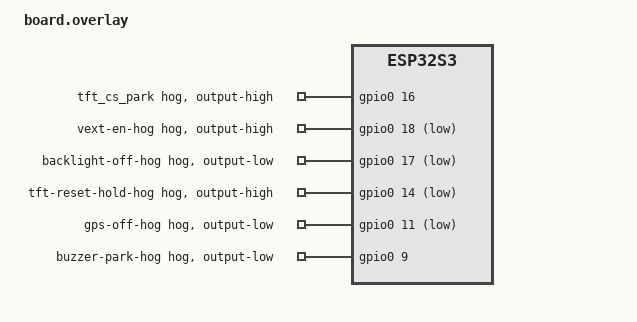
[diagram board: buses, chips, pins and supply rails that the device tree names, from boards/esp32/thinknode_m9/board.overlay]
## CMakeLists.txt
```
# SPDX-License-Identifier: MIT
# ZephCore LR1110 Firmware Updater — updates LR1110 radio firmware to 0x0402.
#
# Board-specific: only builds for boards with an LR1110 radio
# (t1000_e, thinknode_m9).
#
# Build:  west build -b t1000_e/nrf52840 zephcore/tools/lr1110_updater --pristine
#         west build -b thinknode_m9/esp32s3/procpu zephcore/tools/lr1110_updater --pristine
# Flash:  nRF52: drag-drop build/zephyr/zephyr.uf2 onto UF2 drive
#         (or: nrfjprog --program build/zephyr/zephyr.hex --sectorerase -r)
#         ESP32: west flash --esp-device COMX
#
# After the updater finishes, flash ZephCore main firmware.

cmake_minimum_required(VERSION 3.20.0)

# Reuse the main project's custom board definitions
list(APPEND BOARD_ROOT ${CMAKE_CURRENT_SOURCE_DIR}/../..)

# Extract base board name (strip qualifier like /nrf52840)
string(REPLACE "/" ";" BOARD_PARTS ${BOARD})
list(GET BOARD_PARTS 0 BOARD_BASE)

# Find board overlay — prefer updater-specific overlay, fall back to main board
file(GLOB_RECURSE UPD_OVERLAY_CANDIDATES
     "${CMAKE_CURRENT_SOURCE_DIR}/boards/*/${BOARD_BASE}/board.overlay"
     "${CMAKE_CURRENT_SOURCE_DIR}/boards/${BOARD_BASE}/board.overlay")
if(UPD_OVERLAY_CANDIDATES)
    list(GET UPD_OVERLAY_CANDIDATES 0 UPDATER_BOARD_OVERLAY)
else()
    # Fall back to main board overlay
    file(GLOB_RECURSE BOARD_OVERLAY_CANDIDATES
         "${CMAKE_CURRENT_SOURCE_DIR}/../../boards/*/${BOARD_BASE}/board.overlay")
    if(BOARD_OVERLAY_CANDIDATES)
        list(GET BOARD_OVERLAY_CANDIDATES 0 UPDATER_BOARD_OVERLAY)
    endif()
endif()
if(UPDATER_BOARD_OVERLAY)
    if(EXTRA_DTC_OVERLAY_FILE)
        set(EXTRA_DTC_OVERLAY_FILE "${EXTRA_DTC_OVERLAY_FILE};${UPDATER_BOARD_OVERLAY}" CACHE STRING "" FORCE)
    else()
        set(EXTRA_DTC_OVERLAY_FILE "${UPDATER_BOARD_OVERLAY}" CACHE STRING "" FORCE)
    endif()
endif()

# Find updater-specific board.conf
file(GLOB_RECURSE UPD_BOARD_CONF_CANDIDATES
     "${CMAKE_CURRENT_SOURCE_DIR}/boards/*/${BOARD_BASE}/board.conf"
     "${CMAKE_CURRENT_SOURCE_DIR}/boards/${BOARD_BASE}/board.conf")
if(UPD_BOARD_CONF_CANDIDATES)
    list(GET UPD_BOARD_CONF_CANDIDATES 0 UPD_BOARD_CONF)
    if(EXTRA_CONF_FILE)
        set(EXTRA_CONF_FILE "${EXTRA_CONF_FILE};${UPD_BOARD_CONF}" CACHE STRING "" FORCE)
    else()
        set(EXTRA_CONF_FILE "${UPD_BOARD_CONF}" CACHE STRING "" FORCE)
    endif()
endif()

# Optional: route SPI through DMA so a 262-byte WriteFlashEncrypted frame is
# ONE hardware transaction instead of five 64-byte ones. Diagnostic — see the
# header of the board's spi_dma.overlay.
#   west build ... zephcore/tools/lr1110_updater -- -DUPDATER_SPI_DMA=1
if(UPDATER_SPI_DMA)
    set(UPD_DMA_DIR "${CMAKE_CURRENT_SOURCE_DIR}/boards/esp32/${BOARD_BASE}")
    if(NOT EXISTS "${UPD_DMA_DIR}/spi_dma.overlay")
        message(FATAL_ERROR
            "UPDATER_SPI_DMA=1 requested but no spi_dma.overlay exists for "
            "board '${BOARD_BASE}'. This option is ESP32-only — the nRF52 "
            "SPIM driver has no 64-byte transaction limit to work around.")
    endif()
    set(EXTRA_DTC_OVERLAY_FILE
        "${EXTRA_DTC_OVERLAY_FILE};${UPD_DMA_DIR}/spi_dma.overlay"
        CACHE STRING "" FORCE)
    set(EXTRA_CONF_FILE
        "${EXTRA_CONF_FILE};${UPD_DMA_DIR}/spi_dma.conf"
        CACHE STRING "" FORCE)
    message(STATUS "LR1110 updater: SPI DMA ENABLED (single-transaction writes)")
endif()

message(STATUS "LR1110 updater board overlay: ${UPDATER_BOARD_OVERLAY}")
message(STATUS "LR1110 updater board conf: ${UPD_BOARD_CONF}")

find_package(Zephyr REQUIRED HINTS $ENV{ZEPHYR_BASE})
project(zephcore_lr1110_updater)

target_sources(app PRIVATE
    src/main.c
    src/lr11xx_hal_updater.c
    src/lr1110_bootloader.c
    src/lr1110_bl_updater.c
)

# Optional: flash transceiver 0x0401 instead of the default 0x0402.
#   west build ... zephcore/tools/lr1110_updater -- -DUPDATER_TARGET_FW=0x0401
if(DEFINED UPDATER_TARGET_FW)
    target_compile_definitions(app PRIVATE UPDATER_TARGET_FW=${UPDATER_TARGET_FW})
endif()

# Opt in to the ONE-WAY chip-bootloader update (0x6500 -> 0x1001). Off by
# default: chips that took it have since refused to boot any transceiver
# image. See the note in src/main.c.
if(DEFINED UPDATER_ALLOW_BOOTLOADER_UPDATE)
    target_compile_definitions(app PRIVATE
        UPDATER_ALLOW_BOOTLOADER_UPDATE=${UPDATER_ALLOW_BOOTLOADER_UPDATE})
endif()

# Idle gap after every flash page program, in ms. Diagnostic for a marginal
# supply — see the note in src/main.c.
#   west build ... -- -DUPDATER_CHUNK_DELAY_MS=10
if(DEFINED UPDATER_CHUNK_DELAY_MS)
    target_compile_definitions(app PRIVATE
        UPDATER_CHUNK_DELAY_MS=${UPDATER_CHUNK_DELAY_MS})
endif()

# Flash even with an SD card in the slot (shared SPI bus — see src/main.c).
#   west build ... -- -DUPDATER_IGNORE_SDCARD=1
if(DEFINED UPDATER_IGNORE_SDCARD)
    target_compile_definitions(app PRIVATE
        UPDATER_IGNORE_SDCARD=${UPDATER_IGNORE_SDCARD})
endif()

# Let a pasted log identify which build produced it.
if(UPDATER_SPI_DMA)
    target_compile_definitions(app PRIVATE UPDATER_SPI_DMA=1)
endif()

# Include paths for Semtech driver headers and firmware image
target_include_directories(app PRIVATE
    ${CMAKE_CURRENT_SOURCE_DIR}/src
    ${CMAKE_CURRENT_SOURCE_DIR}/lib
    ${ZEPHYR_LORA_BASICS_MODEM_MODULE_DIR}/lbm_lib/smtc_modem_core/radio_drivers/lr11xx_driver/src
)
```

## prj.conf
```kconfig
# ZephCore LR1110 Firmware Updater — minimal config
# Only needs SPI + GPIO to talk to the LR1110 radio.

# SPI for radio communication
CONFIG_SPI=y

# GPIO for reset, busy, NSS, LED
CONFIG_GPIO=y

# Use DTS code_partition for linker origin (required for bootloader boards)
CONFIG_USE_DT_CODE_PARTITION=y

# UF2 output
CONFIG_BUILD_OUTPUT_UF2=y

# USB CDC console
CONFIG_USB_DEVICE_STACK_NEXT=y
CONFIG_SERIAL=y
CONFIG_CONSOLE=y
CONFIG_UART_CONSOLE=y
CONFIG_UART_LINE_CTRL=y
CONFIG_CDC_ACM_SERIAL_INITIALIZE_AT_BOOT=y
CONFIG_CDC_ACM_SERIAL_ENABLE_AT_BOOT=y

# Minimal logging — console printk only
CONFIG_LOG=n
CONFIG_ASSERT=n

# Reboot API (reboot to UF2 DFU after update)
CONFIG_REBOOT=y

# Don't need any of these
CONFIG_GNSS=n
CONFIG_I2C=n
CONFIG_SENSOR=n
CONFIG_BT=n
CONFIG_FILE_SYSTEM=n
CONFIG_FLASH=n
```

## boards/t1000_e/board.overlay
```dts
/*
 * T1000-E LR1110 Updater overlay
 * SPDX-License-Identifier: MIT
 *
 * Minimal overlay — only SPI1 (LR1110 radio) and USB console.
 * Disables GPS UART, I2C sensors, and other peripherals not needed for update.
 */

/* Disable UART0 (GPS) — not needed, prevents driver init hang */
&uart0 {
	status = "disabled";
};

/* Disable I2C0 (sensors) — not needed */
&i2c0 {
	status = "disabled";
};

/* Route console to USB CDC ACM */
/ {
	chosen {
		zephyr,console = &cdc_acm_uart;
		zephyr,shell-uart = &cdc_acm_uart;
	};
};

&zephyr_udc0 {
	cdc_acm_uart: cdc_acm_uart {
		compatible = "zephyr,cdc-acm-uart";
	};
};
```

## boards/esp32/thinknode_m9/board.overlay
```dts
/*
 * ThinkNode M9 LR1110 Updater overlay
 * SPDX-License-Identifier: MIT
 *
 * Minimal overlay — the LR1110 lives in the base board DTS (SPI2).
 *
 * Console MUST ride uart0: the M9's USB-C data lines go through a
 * CH9102-class USB-UART bridge wired to UART0 (GPIO43/44), not to the S3's
 * native USB Serial/JTAG pads (verified on hardware — the base DTS's
 * usb_serial console produced no output after the ROM boot log, which
 * itself arrives via UART0). Same routing as the main firmware.
 *
 * Disables peripherals not needed for the update.
 */

#include "../../../../../boards/common/esp32s3_console_uart0.dtsi"

/*
 * Park the ST7789 chip-select (GPIO16) HIGH = deselected.
 *
 * SPI2 is shared by the LR1110, the TFT and the SD slot. This build has no
 * display driver, so nothing would ever configure the TFT's CS and the pin
 * would float across the whole firmware transfer — leaving the panel free
 * to select itself on noise and drive MISO against the radio. (The SD
 * slot's CS is parked by a hog in the base board DTS, which this overlay
 * does not replace.)
 */
&gpio0 {
	tft_cs_park {
		gpio-hog;
		gpios = <16 GPIO_ACTIVE_HIGH>;
		output-high;
	};
};

/* Disable UART1 (GPS) — not needed */
&uart1 {
	status = "disabled";
};

/* Disable I2C0 (RTC/sensors) — not needed */
&i2c0 {
	status = "disabled";
};

/* VDD_PERIPH rail — GPIO18 (VEXT_ENABLE, active-LOW) also feeds the LR1110
 * (V1.0 schematic; field-confirmed by fdlamotte). The main firmware enables
 * it via the tft_pwr_enable regulator in the APP overlay, which this updater
 * does not include — left undriven, the gate floats and the radio runs on
 * power back-fed through the SPI lines: enough to answer commands, browns
 * out at flash-program current (Stage A verify failure, 2026-07-19). Hog
 * the rail ON at GPIO driver init, before anything talks to the chip.
 *
 * The other hogs quiesce every gateable load that shares that rail — the
 * LR1110's flash-program current peaks ride the same supply, and the
 * updater build otherwise leaves these pins floating (pins/polarities from
 * the main app overlay). GPS RESET (GPIO5, active-HIGH) is deliberately
 * left alone: driving it into the disabled GPS would only leak through its
 * protection diode. */
&gpio0 {
	vext-en-hog {
		gpio-hog;
		gpios = <18 GPIO_ACTIVE_LOW>;
		output-high;	/* logical active = physical LOW = rail ON */
	};
	backlight-off-hog {
		gpio-hog;
		gpios = <17 GPIO_ACTIVE_LOW>;
		output-low;	/* physical HIGH = backlight OFF (floats ON otherwise) */
	};
	tft-reset-hold-hog {
		gpio-hog;
		gpios = <14 GPIO_ACTIVE_LOW>;
		output-high;	/* physical LOW = ST7789 held in reset, quiet + off the bus */
	};
	gps-off-hog {
		gpio-hog;
		gpios = <11 GPIO_ACTIVE_LOW>;
		output-low;	/* physical HIGH = GPS disabled (acquisition draws 25-40 mA) */
	};
	buzzer-park-hog {
		gpio-hog;
		gpios = <9 GPIO_ACTIVE_HIGH>;
		output-low;	/* physical LOW = low-side driver off, silent */
	};
};

/* Marginal SPI writes on some units (a single corrupted word of the 61320
 * fails the image signature). Flashing is not throughput-critical — the
 * chip-side flash programming dominates — so run the bus at 2 MHz instead
 * of the main firmware's 8 MHz. */
&lora {
	spi-max-frequency = <2000000>;
};
```

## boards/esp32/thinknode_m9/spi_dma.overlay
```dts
/*
 * ThinkNode M9 updater — route SPI2 through GDMA.
 * SPDX-License-Identifier: MIT
 *
 * Opt-in via -DUPDATER_SPI_DMA=1. Purpose is diagnostic, not performance.
 *
 * WriteFlashEncrypted is a 6-byte header + 256-byte payload = 262 bytes, and
 * it is the ONLY command this tool issues that exceeds 64 bytes. Without DMA,
 * spi_esp32_spim.c clamps every chunk to SOC_SPI_MAXIMUM_BUFFER_SIZE (64 on
 * the S3), so that one command is delivered as five hardware transactions
 * with the peripheral reconfigured between them — while every command known
 * to work on this board (GetVersion, GetStatus, EraseFlash, the EUI reads)
 * fits in a single transaction.
 *
 * The payload is encrypted, so the chip cannot validate content at write
 * time — only that 256 bytes arrived. If the split perturbed the bit stream,
 * writes would still report OK and the signed image would fail its integrity
 * check at boot, which is exactly the observed symptom.
 *
 * With DMA the cap becomes SPI_DMA_MAX_BUFFER_SIZE (4092), so the whole
 * 262-byte frame goes out as ONE transaction and that variable is removed.
 *
 * Caveat: upstream's own ESP32 board files leave SPI DMA commented as a TODO,
 * so this path is not well exercised in-tree. Treat a failure to build or run
 * as information about the driver, not about the radio.
 */

/* GDMA controller is disabled in esp32s3_common.dtsi — enable it. */
&dma {
	status = "okay";
};

&spi2 {
	dma-enabled;
	dma-host = <0>;			/* 0 -> SPI2 */
	dmas = <&dma 0>, <&dma 1>;	/* #dma-cells = <1>: the cell is the channel */
	dma-names = "tx", "rx";
};
```

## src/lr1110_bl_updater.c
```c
/*
 * SPDX-License-Identifier: MIT
 *
 * LR1110 bootloader-updater (loader) driver — see lr1110_bl_updater.h.
 * Command frames ported from Semtech SWTL001 bootloader_updater_driver
 * (Clear BSD, Semtech Corporation 2026).
 */

#include "lr1110_bl_updater.h"
#include "lr11xx_hal.h"

/*
 * Embed the loader image. Both Semtech firmware headers define the same
 * array name (lr11xx_firmware_image) AND the same include guard
 * (LR11XX_FW_H), so the loader header may only be included in THIS
 * translation unit (main.c holds the transceiver image), with the array
 * renamed to avoid the duplicate symbol.
 */
#define lr11xx_firmware_image lr11xx_firmware_loader_image
#include "lr1110_loader_6500.h"
#undef lr11xx_firmware_image

/* Loader ("bootloader updater firmware") command opcodes */
#define LR1110_BL_UPDATER_UPDATE_BOOTLOADER_OC 0x8100
#define LR1110_BL_UPDATER_VERIFY_BOOTLOADER_OC 0x8101
#define LR1110_BL_UPDATER_REBOOT_OC            0x8102

uint16_t lr1110_bl_loader_version(void)
{
	return LR11XX_FIRMWARE_VERSION; /* 0x6500 — from lr1110_loader_6500.h */
}

const uint32_t *lr1110_bl_loader_image(void)
{
	return lr11xx_firmware_loader_image;
}

uint32_t lr1110_bl_loader_image_size(void)
{
	return LR11XX_FIRMWARE_IMAGE_SIZE; /* 4884 words */
}

lr1110_status_t lr1110_bl_updater_update_bootloader(const void *context)
{
	const uint8_t cbuffer[2] = {
		(uint8_t)(LR1110_BL_UPDATER_UPDATE_BOOTLOADER_OC >> 8),
		(uint8_t)(LR1110_BL_UPDATER_UPDATE_BOOTLOADER_OC >> 0),
	};

	return (lr1110_status_t)lr11xx_hal_write(context, cbuffer, sizeof(cbuffer), 0, 0);
}

lr1110_status_t lr1110_bl_updater_verify_bootloader(const void *context,
	lr1110_bl_updater_report_t *report)
{
	const uint8_t cbuffer[2] = {
		(uint8_t)(LR1110_BL_UPDATER_VERIFY_BOOTLOADER_OC >> 8),
		(uint8_t)(LR1110_BL_UPDATER_VERIFY_BOOTLOADER_OC >> 0),
	};
	uint8_t rbuffer[4] = { 0 };

	const lr11xx_hal_status_t status =
		lr11xx_hal_read(context, cbuffer, sizeof(cbuffer), rbuffer, sizeof(rbuffer));

	if (status == LR11XX_HAL_STATUS_OK) {
		const uint8_t checks = rbuffer[0];

		report->signature_verified     = (checks & 0x01) != 0;
		report->version_verified       = (checks & 0x02) != 0;
		report->use_case_verified      = (checks & 0x04) != 0;
		report->version_major_verified = (checks & 0x08) != 0;
		report->version_minor_verified = (checks & 0x10) != 0;
		report->anti_rollback_verified = (checks & 0x20) != 0;
		report->use_case               = rbuffer[1];
		report->version_major          = rbuffer[2];
		report->version_minor          = rbuffer[3];
	}

	return (lr1110_status_t)status;
}

bool lr1110_bl_updater_report_ok(const lr1110_bl_updater_report_t *report)
{
	return report->signature_verified &&
	       report->version_verified &&
	       report->use_case_verified &&
	       report->version_major_verified &&
	       report->version_minor_verified &&
	       report->anti_rollback_verified;
}

lr1110_status_t lr1110_bl_updater_reboot(const void *context, bool stay_in_bootloader)
{
	const uint8_t cbuffer[3] = {
		(uint8_t)(LR1110_BL_UPDATER_REBOOT_OC >> 8),
		(uint8_t)(LR1110_BL_UPDATER_REBOOT_OC >> 0),
		stay_in_bootloader ? 0x03 : 0x00,
	};

	return (lr1110_status_t)lr11xx_hal_write(context, cbuffer, sizeof(cbuffer), 0, 0);
}
```

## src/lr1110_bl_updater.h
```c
/*
 * SPDX-License-Identifier: MIT
 *
 * Driver for the LR1110 "bootloader updater" (loader) firmware — the
 * commands below are understood by the lr1110_loader_6500 image while it
 * is RUNNING on the chip (i.e. after it has been flashed and rebooted
 * into). They are NOT bootloader-mode commands.
 *
 * Background (AN1200.57, Semtech SWTL001): transceiver firmware 0x0402
 * only boots on chip bootloader 0x1001. Chips with the legacy bootloader
 * 0x6500 must first flash + run this loader, tell it to rewrite the
 * bootloader (0x8100), verify (0x8101), then reboot (0x8102) — after
 * which the chip reports bootloader 0x1001 and accepts 0x0402.
 *
 * Command set ported from SWTL001 bootloader_updater_driver (Clear BSD,
 * Semtech Corporation 2026). GetVersion/GetStatus share the classic
 * bootloader wire format — reuse lr1110_bootloader_get_version/_get_status.
 */

#ifndef LR1110_BL_UPDATER_H
#define LR1110_BL_UPDATER_H

#ifdef __cplusplus
extern "C" {
#endif

#include <stdbool.h>
#include <stdint.h>
#include "lr1110_bootloader.h"

/* On-chip bootloader versions (LR1110) */
#define LR1110_BL_VERSION_LEGACY  0x6500  /* shipped since 2020; loader targets this */
#define LR1110_BL_VERSION_UPDATED 0x1001  /* after the loader ran; required by FW 0x0402 */

/* Result of the loader's VerifyBootloader (0x8101) command */
typedef struct {
	bool signature_verified;
	bool version_verified;
	bool use_case_verified;
	bool version_major_verified;
	bool version_minor_verified;
	bool anti_rollback_verified;
	uint8_t use_case;
	uint8_t version_major;
	uint8_t version_minor;
} lr1110_bl_updater_report_t;

/* Embedded lr1110_loader_6500 image (lib/lr1110_loader_6500.h) */
uint16_t        lr1110_bl_loader_version(void);     /* 0x6500 */
const uint32_t *lr1110_bl_loader_image(void);
uint32_t        lr1110_bl_loader_image_size(void);  /* in 32-bit words */

/* Ask the running loader to rewrite the chip bootloader (opcode 0x8100).
 * BUSY stays high for the duration of the rewrite — the HAL grants this
 * opcode the long timeout. */
lr1110_status_t lr1110_bl_updater_update_bootloader(const void *context);

/* Read the loader's verification report for the new bootloader (0x8101). */
lr1110_status_t lr1110_bl_updater_verify_bootloader(const void *context,
	lr1110_bl_updater_report_t *report);

/* All six verification checks passed? */
bool lr1110_bl_updater_report_ok(const lr1110_bl_updater_report_t *report);

/* Reboot out of the loader (opcode 0x8102, NOT the bootloader's 0x8005). */
lr1110_status_t lr1110_bl_updater_reboot(const void *context,
	bool stay_in_bootloader);

#ifdef __cplusplus
}
#endif

#endif /* LR1110_BL_UPDATER_H */
```

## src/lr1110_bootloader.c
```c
/*!
 * @file      lr1110_bootloader.c
 *
 * @brief     Bootloader driver implementation for LR1110
 *
 * The Clear BSD License
 * Copyright Semtech Corporation 2021. All rights reserved.
 *
 * Redistribution and use in source and binary forms, with or without
 * modification, are permitted (subject to the limitations in the disclaimer
 * below) provided that the following conditions are met:
 *     * Redistributions of source code must retain the above copyright
 *       notice, this list of conditions and the following disclaimer.
 *     * Redistributions in binary form must reproduce the above copyright
 *       notice, this list of conditions and the following disclaimer in the
 *       documentation and/or other materials provided with the distribution.
 *     * Neither the name of the Semtech corporation nor the
 *       names of its contributors may be used to endorse or promote products
 *       derived from this software without specific prior written permission.
 *
 * NO EXPRESS OR IMPLIED LICENSES TO ANY PARTY'S PATENT RIGHTS ARE GRANTED BY
 * THIS LICENSE. THIS SOFTWARE IS PROVIDED BY THE COPYRIGHT HOLDERS AND
 * CONTRIBUTORS "AS IS" AND ANY EXPRESS OR IMPLIED WARRANTIES, INCLUDING, BUT
 * NOT LIMITED TO, THE IMPLIED WARRANTIES OF MERCHANTABILITY AND FITNESS FOR A
 * PARTICULAR PURPOSE ARE DISCLAIMED. IN NO EVENT SHALL SEMTECH CORPORATION BE
 * LIABLE FOR ANY DIRECT, INDIRECT, INCIDENTAL, SPECIAL, EXEMPLARY, OR
 * CONSEQUENTIAL DAMAGES (INCLUDING, BUT NOT LIMITED TO, PROCUREMENT OF
 * SUBSTITUTE GOODS OR SERVICES; LOSS OF USE, DATA, OR PROFITS; OR BUSINESS
 * INTERRUPTION) HOWEVER CAUSED AND ON ANY THEORY OF LIABILITY, WHETHER IN
 * CONTRACT, STRICT LIABILITY, OR TORT (INCLUDING NEGLIGENCE OR OTHERWISE)
 * ARISING IN ANY WAY OUT OF THE USE OF THIS SOFTWARE, EVEN IF ADVISED OF THE
 * POSSIBILITY OF SUCH DAMAGE.
 */

/*
 * Source: https://github.com/Lora-net/lr1110_driver
 * Adapted for ZephCore updater tool — only include path changes.
 */

#include "lr1110_bootloader.h"
#include "lr11xx_hal.h"

/* ── Constants ─────────────────────────────────────────────── */

#define LR1110_FLASH_DATA_MAX_LENGTH_UINT32 (64)
#define LR1110_FLASH_DATA_MAX_LENGTH_UINT8  (LR1110_FLASH_DATA_MAX_LENGTH_UINT32 * 4)

#define LR1110_BL_CMD_NO_PARAM_LENGTH           (2)
#define LR1110_BL_GET_STATUS_CMD_LENGTH         (2 + 4)
#define LR1110_BL_VERSION_CMD_LENGTH            LR1110_BL_CMD_NO_PARAM_LENGTH
#define LR1110_BL_ERASE_FLASH_CMD_LENGTH        LR1110_BL_CMD_NO_PARAM_LENGTH
#define LR1110_BL_WRITE_FLASH_ENCRYPTED_CMD_LENGTH (LR1110_BL_CMD_NO_PARAM_LENGTH + 4)
#define LR1110_BL_REBOOT_CMD_LENGTH             (LR1110_BL_CMD_NO_PARAM_LENGTH + 1)
#define LR1110_BL_GET_HASH_CMD_LENGTH           LR1110_BL_CMD_NO_PARAM_LENGTH
#define LR1110_BL_SET_TCXO_MODE_CMD_LENGTH      (LR1110_BL_CMD_NO_PARAM_LENGTH + 4)
#define LR1110_BL_CALIBRATE_CMD_LENGTH          (LR1110_BL_CMD_NO_PARAM_LENGTH + 1)
#define LR1110_BL_GET_PIN_CMD_LENGTH            LR1110_BL_CMD_NO_PARAM_LENGTH
#define LR1110_BL_READ_CHIP_EUI_CMD_LENGTH      LR1110_BL_CMD_NO_PARAM_LENGTH
#define LR1110_BL_READ_JOIN_EUI_CMD_LENGTH      LR1110_BL_CMD_NO_PARAM_LENGTH

/* ── Opcodes ───────────────────────────────────────────────── */

enum {
	LR1110_BL_GET_STATUS_OC            = 0x0100,
	LR1110_BL_GET_VERSION_OC           = 0x0101,
	/* System commands the bootloader also answers (same space as
	 * GetStatus/GetVersion above) — used to bring up the TCXO before
	 * flashing on boards whose 32 MHz reference is powered from DIO3. */
	LR1110_BL_CALIBRATE_OC             = 0x010F,
	LR1110_BL_SET_TCXO_MODE_OC         = 0x0117,
	LR1110_BL_ERASE_FLASH_OC           = 0x8000,
	LR1110_BL_WRITE_FLASH_ENCRYPTED_OC = 0x8003,
	LR1110_BL_GET_HASH_OC              = 0x8004,
	LR1110_BL_REBOOT_OC                = 0x8005,
	LR1110_BL_GET_PIN_OC               = 0x800B,
	LR1110_BL_READ_CHIP_EUI_OC         = 0x800C,
	LR1110_BL_READ_JOIN_EUI_OC         = 0x800D,
};

/* ── Helper ────────────────────────────────────────────────── */

static uint8_t get_min_block_size(uint32_t operand)
{
	return (operand > LR1110_FLASH_DATA_MAX_LENGTH_UINT32)
		? LR1110_FLASH_DATA_MAX_LENGTH_UINT32
		: (uint8_t)operand;
}

/* ── Implementation ────────────────────────────────────────── */

lr1110_status_t lr1110_bootloader_get_status(const void *context,
	lr1110_bootloader_stat1_t *stat1,
	lr1110_bootloader_stat2_t *stat2,
	lr1110_bootloader_irq_mask_t *irq_status)
{
	uint8_t data[LR1110_BL_GET_STATUS_CMD_LENGTH];

	const lr1110_status_t status = (lr1110_status_t)
		lr11xx_hal_direct_read(context, data, LR1110_BL_GET_STATUS_CMD_LENGTH);

	if (status == LR1110_STATUS_OK) {
		stat1->is_interrupt_active = ((data[0] & 0x01) != 0);
		stat1->command_status = (lr1110_bootloader_command_status_t)(data[0] >> 1);

		stat2->is_running_from_flash = ((data[1] & 0x01) != 0);
		stat2->chip_mode = (lr1110_bootloader_chip_modes_t)((data[1] & 0x0F) >> 1);
		stat2->reset_status = (lr1110_bootloader_reset_status_t)((data[1] & 0xF0) >> 4);

		*irq_status = ((lr1110_bootloader_irq_mask_t)data[2] << 24) +
			      ((lr1110_bootloader_irq_mask_t)data[3] << 16) +
			      ((lr1110_bootloader_irq_mask_t)data[4] << 8) +
			      ((lr1110_bootloader_irq_mask_t)data[5] << 0);
	}

	return status;
}

lr1110_status_t lr1110_bootloader_get_version(const void *context,
	lr1110_bootloader_version_t *version)
{
	const uint8_t cbuffer[LR1110_BL_VERSION_CMD_LENGTH] = {
		(uint8_t)(LR1110_BL_GET_VERSION_OC >> 8),
		(uint8_t)(LR1110_BL_GET_VERSION_OC >> 0),
	};
	uint8_t rbuffer[LR1110_BL_VERSION_LENGTH] = { 0 };

	const lr1110_status_t status = (lr1110_status_t)
		lr11xx_hal_read(context, cbuffer, LR1110_BL_VERSION_CMD_LENGTH,
				rbuffer, LR1110_BL_VERSION_LENGTH);

	if (status == LR1110_STATUS_OK) {
		version->hw   = rbuffer[0];
		version->type = rbuffer[1];
		version->fw   = ((uint16_t)rbuffer[2] << 8) + (uint16_t)rbuffer[3];
	}

	return status;
}

lr1110_status_t lr1110_bootloader_erase_flash(const void *context)
{
	const uint8_t cbuffer[LR1110_BL_ERASE_FLASH_CMD_LENGTH] = {
		(uint8_t)(LR1110_BL_ERASE_FLASH_OC >> 8),
		(uint8_t)(LR1110_BL_ERASE_FLASH_OC >> 0),
	};

	return (lr1110_status_t)
		lr11xx_hal_write(context, cbuffer, LR1110_BL_ERASE_FLASH_CMD_LENGTH, 0, 0);
}

lr1110_status_t lr1110_bootloader_get_hash(const void *context,
	lr1110_bootloader_hash_t hash)
{
	const uint8_t cbuffer[LR1110_BL_GET_HASH_CMD_LENGTH] = {
		(uint8_t)(LR1110_BL_GET_HASH_OC >> 8),
		(uint8_t)(LR1110_BL_GET_HASH_OC >> 0),
	};

	return (lr1110_status_t)
		lr11xx_hal_read(context, cbuffer, LR1110_BL_GET_HASH_CMD_LENGTH,
				hash, LR1110_BL_HASH_LENGTH);
}

lr1110_status_t lr1110_bootloader_set_tcxo_mode(const void *context,
	uint8_t tune, uint32_t timeout)
{
	const uint8_t cbuffer[LR1110_BL_SET_TCXO_MODE_CMD_LENGTH] = {
		(uint8_t)(LR1110_BL_SET_TCXO_MODE_OC >> 8),
		(uint8_t)(LR1110_BL_SET_TCXO_MODE_OC >> 0),
		tune,
		(uint8_t)(timeout >> 16),
		(uint8_t)(timeout >> 8),
		(uint8_t)(timeout >> 0),
	};

	return (lr1110_status_t)
		lr11xx_hal_write(context, cbuffer, LR1110_BL_SET_TCXO_MODE_CMD_LENGTH, 0, 0);
}

lr1110_status_t lr1110_bootloader_calibrate(const void *context, uint8_t calib_param)
{
	const uint8_t cbuffer[LR1110_BL_CALIBRATE_CMD_LENGTH] = {
		(uint8_t)(LR1110_BL_CALIBRATE_OC >> 8),
		(uint8_t)(LR1110_BL_CALIBRATE_OC >> 0),
		calib_param,
	};

	return (lr1110_status_t)
		lr11xx_hal_write(context, cbuffer, LR1110_BL_CALIBRATE_CMD_LENGTH, 0, 0);
}

lr1110_status_t lr1110_bootloader_write_flash_encrypted(const void *context,
	uint32_t offset, const uint32_t *data, uint8_t length)
{
	const uint8_t cbuffer[LR1110_BL_WRITE_FLASH_ENCRYPTED_CMD_LENGTH] = {
		(uint8_t)(LR1110_BL_WRITE_FLASH_ENCRYPTED_OC >> 8),
		(uint8_t)(LR1110_BL_WRITE_FLASH_ENCRYPTED_OC >> 0),
		(uint8_t)(offset >> 24),
		(uint8_t)(offset >> 16),
		(uint8_t)(offset >> 8),
		(uint8_t)(offset >> 0),
	};

	/* Convert uint32_t words to big-endian byte array for SPI */
	uint8_t cdata[256] = { 0 };
	for (uint8_t i = 0; i < length; i++) {
		uint8_t *p = &cdata[i * sizeof(uint32_t)];
		p[0] = (uint8_t)(data[i] >> 24);
		p[1] = (uint8_t)(data[i] >> 16);
		p[2] = (uint8_t)(data[i] >> 8);
		p[3] = (uint8_t)(data[i] >> 0);
	}

	return (lr1110_status_t)
		lr11xx_hal_write(context, cbuffer, LR1110_BL_WRITE_FLASH_ENCRYPTED_CMD_LENGTH,
				 cdata, length * sizeof(uint32_t));
}

lr1110_status_t lr1110_bootloader_write_flash_encrypted_full(const void *context,
	uint32_t offset, const uint32_t *buffer, uint32_t length)
{
	uint32_t remaining = length;
	uint32_t local_offset = offset;
	uint32_t loop = 0;

	while (remaining != 0) {
		const lr1110_status_t status = lr1110_bootloader_write_flash_encrypted(
			context, local_offset,
			buffer + loop * LR1110_FLASH_DATA_MAX_LENGTH_UINT32,
			get_min_block_size(remaining));

		if (status != LR1110_STATUS_OK) {
			return status;
		}

		local_offset += LR1110_FLASH_DATA_MAX_LENGTH_UINT8;
		remaining = (remaining < LR1110_FLASH_DATA_MAX_LENGTH_UINT32)
			? 0
			: (remaining - LR1110_FLASH_DATA_MAX_LENGTH_UINT32);

		loop++;
	}

	return LR1110_STATUS_OK;
}

lr1110_status_t lr1110_bootloader_reboot(const void *context,
	bool stay_in_bootloader)
{
	const uint8_t cbuffer[LR1110_BL_REBOOT_CMD_LENGTH] = {
		(uint8_t)(LR1110_BL_REBOOT_OC >> 8),
		(uint8_t)(LR1110_BL_REBOOT_OC >> 0),
		stay_in_bootloader ? 0x03 : 0x00,
	};

	return (lr1110_status_t)
		lr11xx_hal_write(context, cbuffer, LR1110_BL_REBOOT_CMD_LENGTH, 0, 0);
}

lr1110_status_t lr1110_bootloader_read_pin(const void *context,
	lr1110_bootloader_pin_t pin)
{
	const uint8_t cbuffer[LR1110_BL_GET_PIN_CMD_LENGTH] = {
		(uint8_t)(LR1110_BL_GET_PIN_OC >> 8),
		(uint8_t)(LR1110_BL_GET_PIN_OC >> 0),
	};

	return (lr1110_status_t)
		lr11xx_hal_read(context, cbuffer, LR1110_BL_GET_PIN_CMD_LENGTH,
				pin, LR1110_BL_PIN_LENGTH);
}

lr1110_status_t lr1110_bootloader_read_chip_eui(const void *context,
	lr1110_bootloader_chip_eui_t chip_eui)
{
	const uint8_t cbuffer[LR1110_BL_READ_CHIP_EUI_CMD_LENGTH] = {
		(uint8_t)(LR1110_BL_READ_CHIP_EUI_OC >> 8),
		(uint8_t)(LR1110_BL_READ_CHIP_EUI_OC >> 0),
	};

	return (lr1110_status_t)
		lr11xx_hal_read(context, cbuffer, LR1110_BL_READ_CHIP_EUI_CMD_LENGTH,
				chip_eui, LR1110_BL_CHIP_EUI_LENGTH);
}

lr1110_status_t lr1110_bootloader_read_join_eui(const void *context,
	lr1110_bootloader_join_eui_t join_eui)
{
	const uint8_t cbuffer[LR1110_BL_READ_JOIN_EUI_CMD_LENGTH] = {
		(uint8_t)(LR1110_BL_READ_JOIN_EUI_OC >> 8),
		(uint8_t)(LR1110_BL_READ_JOIN_EUI_OC >> 0),
	};

	return (lr1110_status_t)
		lr11xx_hal_read(context, cbuffer, LR1110_BL_READ_JOIN_EUI_CMD_LENGTH,
				join_eui, LR1110_BL_JOIN_EUI_LENGTH);
}
```

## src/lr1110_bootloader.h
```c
/*!
 * @file      lr1110_bootloader.h
 *
 * @brief     Bootloader driver definition for LR1110
 *
 * The Clear BSD License
 * Copyright Semtech Corporation 2021. All rights reserved.
 *
 * Redistribution and use in source and binary forms, with or without
 * modification, are permitted (subject to the limitations in the disclaimer
 * below) provided that the following conditions are met:
 *     * Redistributions of source code must retain the above copyright
 *       notice, this list of conditions and the following disclaimer.
 *     * Redistributions in binary form must reproduce the above copyright
 *       notice, this list of conditions and the following disclaimer in the
 *       documentation and/or other materials provided with the distribution.
 *     * Neither the name of the Semtech corporation nor the
 *       names of its contributors may be used to endorse or promote products
 *       derived from this software without specific prior written permission.
 *
 * NO EXPRESS OR IMPLIED LICENSES TO ANY PARTY'S PATENT RIGHTS ARE GRANTED BY
 * THIS LICENSE. THIS SOFTWARE IS PROVIDED BY THE COPYRIGHT HOLDERS AND
 * CONTRIBUTORS "AS IS" AND ANY EXPRESS OR IMPLIED WARRANTIES, INCLUDING, BUT
 * NOT LIMITED TO, THE IMPLIED WARRANTIES OF MERCHANTABILITY AND FITNESS FOR A
 * PARTICULAR PURPOSE ARE DISCLAIMED. IN NO EVENT SHALL SEMTECH CORPORATION BE
 * LIABLE FOR ANY DIRECT, INDIRECT, INCIDENTAL, SPECIAL, EXEMPLARY, OR
 * CONSEQUENTIAL DAMAGES (INCLUDING, BUT NOT LIMITED TO, PROCUREMENT OF
 * SUBSTITUTE GOODS OR SERVICES; LOSS OF USE, DATA, OR PROFITS; OR BUSINESS
 * INTERRUPTION) HOWEVER CAUSED AND ON ANY THEORY OF LIABILITY, WHETHER IN
 * CONTRACT, STRICT LIABILITY, OR TORT (INCLUDING NEGLIGENCE OR OTHERWISE)
 * ARISING IN ANY WAY OUT OF THE USE OF THIS SOFTWARE, EVEN IF ADVISED OF THE
 * POSSIBILITY OF SUCH DAMAGE.
 */

#ifndef LR1110_BOOTLOADER_H
#define LR1110_BOOTLOADER_H

#ifdef __cplusplus
extern "C" {
#endif

#include <stdbool.h>
#include <stdint.h>
#include "lr11xx_types.h"

/* Compatibility aliases — the older lr1110_driver used lr1110_status_t,
 * the newer lr11xx_driver (SWDR001) uses lr11xx_status_t.
 * Both are the same enum: OK=0, ERROR=3. */
typedef lr11xx_status_t lr1110_status_t;
#define LR1110_STATUS_OK    LR11XX_STATUS_OK
#define LR1110_STATUS_ERROR LR11XX_STATUS_ERROR

/* ── Types ─────────────────────────────────────────────────── */

#define LR1110_BL_VERSION_LENGTH   4
#define LR1110_BL_HASH_LENGTH      16
#define LR1110_BL_PIN_LENGTH       4
#define LR1110_BL_CHIP_EUI_LENGTH  8
#define LR1110_BL_JOIN_EUI_LENGTH  8

typedef uint8_t lr1110_bootloader_hash_t[LR1110_BL_HASH_LENGTH];
typedef uint8_t lr1110_bootloader_pin_t[LR1110_BL_PIN_LENGTH];
typedef uint8_t lr1110_bootloader_chip_eui_t[LR1110_BL_CHIP_EUI_LENGTH];
typedef uint8_t lr1110_bootloader_join_eui_t[LR1110_BL_JOIN_EUI_LENGTH];

typedef uint32_t lr1110_bootloader_irq_mask_t;

typedef enum {
	LR1110_BOOTLOADER_CMD_STATUS_FAIL = 0x00,
	LR1110_BOOTLOADER_CMD_STATUS_PERR = 0x01,
	LR1110_BOOTLOADER_CMD_STATUS_OK   = 0x02,
	LR1110_BOOTLOADER_CMD_STATUS_DATA = 0x03,
} lr1110_bootloader_command_status_t;

typedef enum {
	LR1110_BOOTLOADER_CHIP_MODE_SLEEP     = 0x00,
	LR1110_BOOTLOADER_CHIP_MODE_STBY_RC   = 0x01,
	LR1110_BOOTLOADER_CHIP_MODE_STBY_XOSC = 0x02,
	LR1110_BOOTLOADER_CHIP_MODE_FS        = 0x03,
	LR1110_BOOTLOADER_CHIP_MODE_RX        = 0x04,
	LR1110_BOOTLOADER_CHIP_MODE_TX        = 0x05,
	LR1110_BOOTLOADER_CHIP_MODE_LOC       = 0x06,
} lr1110_bootloader_chip_modes_t;

typedef enum {
	LR1110_BOOTLOADER_RESET_STATUS_CLEARED      = 0x00,
	LR1110_BOOTLOADER_RESET_STATUS_ANALOG       = 0x01,
	LR1110_BOOTLOADER_RESET_STATUS_EXTERNAL     = 0x02,
	LR1110_BOOTLOADER_RESET_STATUS_SYSTEM       = 0x03,
	LR1110_BOOTLOADER_RESET_STATUS_WATCHDOG     = 0x04,
	LR1110_BOOTLOADER_RESET_STATUS_IOCD_RESTART = 0x05,
	LR1110_BOOTLOADER_RESET_STATUS_RTC_RESTART  = 0x06,
} lr1110_bootloader_reset_status_t;

typedef struct {
	lr1110_bootloader_command_status_t command_status;
	bool                               is_interrupt_active;
} lr1110_bootloader_stat1_t;

typedef struct {
	lr1110_bootloader_reset_status_t reset_status;
	lr1110_bootloader_chip_modes_t   chip_mode;
	bool                             is_running_from_flash;
} lr1110_bootloader_stat2_t;

typedef struct {
	uint8_t  hw;
	uint8_t  type;
	uint16_t fw;
} lr1110_bootloader_version_t;

/* ── Functions ─────────────────────────────────────────────── */

lr1110_status_t lr1110_bootloader_get_status(const void *context,
	lr1110_bootloader_stat1_t *stat1,
	lr1110_bootloader_stat2_t *stat2,
	lr1110_bootloader_irq_mask_t *irq_status);

lr1110_status_t lr1110_bootloader_get_version(const void *context,
	lr1110_bootloader_version_t *version);

lr1110_status_t lr1110_bootloader_erase_flash(const void *context);

/* 16-byte digest of the image currently in flash (opcode 0x8004). Lets the
 * host confirm what actually landed, rather than trusting fire-and-forget
 * WriteFlashEncrypted calls that never read back. */
lr1110_status_t lr1110_bootloader_get_hash(const void *context,
	lr1110_bootloader_hash_t hash);

/* TCXO supply voltage codes for lr1110_bootloader_set_tcxo_mode() */
#define LR1110_TCXO_CTRL_1_6V 0x00
#define LR1110_TCXO_CTRL_1_7V 0x01
#define LR1110_TCXO_CTRL_1_8V 0x02
#define LR1110_TCXO_CTRL_2_2V 0x03
#define LR1110_TCXO_CTRL_2_4V 0x04
#define LR1110_TCXO_CTRL_2_7V 0x05
#define LR1110_TCXO_CTRL_3_0V 0x06
#define LR1110_TCXO_CTRL_3_3V 0x07

/* Calibrate all blocks (LF_RC|HF_RC|PLL|ADC|IMG|PLL_TX) */
#define LR1110_CALIB_ALL 0x3F

/* Power the TCXO from DIO3 and use it as the XOSC source. `timeout` is in
 * 32.768 kHz RTC ticks (1 tick = 30.52 us). Must be followed by a
 * calibration — changing the clock source invalidates the previous one. */
lr1110_status_t lr1110_bootloader_set_tcxo_mode(const void *context,
	uint8_t tune, uint32_t timeout);

lr1110_status_t lr1110_bootloader_calibrate(const void *context, uint8_t calib_param);

lr1110_status_t lr1110_bootloader_write_flash_encrypted(const void *context,
	uint32_t offset, const uint32_t *data, uint8_t length);

lr1110_status_t lr1110_bootloader_write_flash_encrypted_full(const void *context,
	uint32_t offset, const uint32_t *buffer, uint32_t length);

lr1110_status_t lr1110_bootloader_reboot(const void *context,
	bool stay_in_bootloader);

lr1110_status_t lr1110_bootloader_read_pin(const void *context,
	lr1110_bootloader_pin_t pin);

lr1110_status_t lr1110_bootloader_read_chip_eui(const void *context,
	lr1110_bootloader_chip_eui_t chip_eui);

lr1110_status_t lr1110_bootloader_read_join_eui(const void *context,
	lr1110_bootloader_join_eui_t join_eui);

#ifdef __cplusplus
}
#endif

#endif /* LR1110_BOOTLOADER_H */
```

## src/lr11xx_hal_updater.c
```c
/*
 * SPDX-License-Identifier: MIT
 * Minimal LR11xx HAL for firmware updater.
 *
 * Implements the Semtech lr11xx_hal_* interface used by lr1110_bootloader.c.
 * Stripped down: no DIO1 interrupt, no work queue, no sleep tracking.
 * Just SPI + GPIO for bootloader commands.
 */

#include "lr11xx_hal_updater.h"
#include "lr11xx_hal.h"

#include <string.h>

#include <zephyr/logging/log.h>
LOG_MODULE_REGISTER(lr1110_hal, LOG_LEVEL_INF);

/* ── Hardware from devicetree ──────────────────────────────── */

#define LR1110_NODE DT_NODELABEL(lora)

#if !DT_NODE_EXISTS(LR1110_NODE)
#error "No 'lora' node found in devicetree — is this an LR1110 board?"
#endif

/* SPI bus device */
static const struct device *spi_dev = DEVICE_DT_GET(DT_BUS(LR1110_NODE));

/* Flashing SPI clock cap. In bootloader mode the chip runs on its RC
 * oscillator with less timing margin, and one corrupted byte fails the whole
 * signed image with every write reporting OK. */
#define UPDATER_SPI_MAX_HZ 2000000

/* SPI config — manual CS (we toggle NSS via GPIO) */
static struct spi_config spi_cfg = {
	.frequency = MIN(DT_PROP(LR1110_NODE, spi_max_frequency), UPDATER_SPI_MAX_HZ),
	.operation = SPI_WORD_SET(8) | SPI_TRANSFER_MSB,
};

/* TCXO configuration from devicetree (0 mV = crystal board, no TCXO) */
uint16_t lr1110_updater_tcxo_voltage_mv(void)
{
	return DT_PROP_OR(LR1110_NODE, tcxo_voltage_mv, 0);
}

uint32_t lr1110_updater_tcxo_startup_delay_ms(void)
{
	return DT_PROP_OR(LR1110_NODE, tcxo_startup_delay_ms, 5);
}

/* GPIO pins */
static const struct gpio_dt_spec pin_nss   = GPIO_DT_SPEC_GET(DT_BUS(LR1110_NODE), cs_gpios);
static const struct gpio_dt_spec pin_reset = GPIO_DT_SPEC_GET(LR1110_NODE, reset_gpios);
static const struct gpio_dt_spec pin_busy  = GPIO_DT_SPEC_GET(LR1110_NODE, busy_gpios);

/* BUSY timeout — 3 seconds (flash erase can take ~2.5s) */
#define BUSY_TIMEOUT_MS 3000

/* Extended BUSY timeout for flash erase (0x8000) and for the loader's
 * bootloader rewrite (0x8100) — both keep BUSY high for seconds. */
#define LONG_BUSY_TIMEOUT_MS 10000

/* How long to watch for BUSY to RISE after a command before assuming the
 * chip finished it too quickly to observe. See wait_command_complete(). */
#define BUSY_RISE_TIMEOUT_MS 2

/* Largest command+payload frame we ever put on the wire. */
#define LR11XX_HAL_MAX_FRAME 272

/* ── Context (opaque pointer for Semtech driver) ──────────── */

/* The Semtech driver passes 'context' to every HAL function.
 * We use a dummy static — all state is in file-scope globals. */
static int dummy_context;

void *lr1110_updater_get_context(void)
{
	return &dummy_context;
}

/* ── BUSY wait ────────────────────────────────────────────── */

static int wait_on_busy(uint32_t timeout_ms)
{
	int64_t start = k_uptime_get();

	while (gpio_pin_get_dt(&pin_busy)) {
		if ((k_uptime_get() - start) > timeout_ms) {
			printk("ERROR: BUSY timeout after %u ms\n", timeout_ms);
			return -ETIMEDOUT;
		}
		k_busy_wait(100); /* 100us */
	}
	return 0;
}

/*
 * Wait for a command the chip has just been given to complete: first watch
 * for BUSY rising (bounded: a fast command may never show busy), then wait
 * for it to fall. Polling for low alone can read the stale pre-command level.
 */
/* ── Per-command instrumentation ───────────────────────────
 *
 * Captured for the most recent command so the caller can trace every chunk:
 * how long the chip took to ASSERT busy (rise latency) and how long it then
 * held it (the real flash-program time). A chunk that never asserts busy at
 * all is the signature of the race this HAL exists to avoid — worth seeing
 * per chunk rather than inferring from a summary. */
static uint32_t last_busy_rise_us;
static uint32_t last_busy_hold_us;
static bool     last_busy_seen;
static int      last_spi_ret;

uint32_t lr1110_updater_last_busy_rise_us(void) { return last_busy_rise_us; }
uint32_t lr1110_updater_last_busy_hold_us(void) { return last_busy_hold_us; }
bool     lr1110_updater_last_busy_seen(void)    { return last_busy_seen; }
int      lr1110_updater_last_spi_ret(void)      { return last_spi_ret; }

static int wait_command_complete(uint32_t timeout_ms)
{
	const uint32_t cyc_entry = k_cycle_get_32();
	int64_t start = k_uptime_get();

	last_busy_seen    = false;
	last_busy_rise_us = 0;
	last_busy_hold_us = 0;

	while (!gpio_pin_get_dt(&pin_busy)) {
		if ((k_uptime_get() - start) > BUSY_RISE_TIMEOUT_MS) {
			break; /* never went busy — nothing to wait for */
		}
		k_busy_wait(1);
	}

	if (gpio_pin_get_dt(&pin_busy)) {
		last_busy_seen = true;
		last_busy_rise_us =
			k_cyc_to_us_floor32(k_cycle_get_32() - cyc_entry);
	}

	const uint32_t cyc_high = k_cycle_get_32();
	int ret = wait_on_busy(timeout_ms);
	last_busy_hold_us = k_cyc_to_us_floor32(k_cycle_get_32() - cyc_high);

	return ret;
}

/* ── Public init/reset ────────────────────────────────────── */

int lr1110_updater_hal_init(void)
{
	int ret;

	if (!device_is_ready(spi_dev)) {
		printk("ERROR: SPI device not ready\n");
		return -ENODEV;
	}

	/* NSS — output, inactive (HIGH = deselected) */
	ret = gpio_pin_configure_dt(&pin_nss, GPIO_OUTPUT_INACTIVE);
	if (ret < 0) {
		printk("ERROR: NSS config failed: %d\n", ret);
		return ret;
	}

	/* RESET — output, inactive (HIGH = not in reset) */
	ret = gpio_pin_configure_dt(&pin_reset, GPIO_OUTPUT_INACTIVE);
	if (ret < 0) {
		printk("ERROR: RESET config failed: %d\n", ret);
		return ret;
	}

	/* BUSY — input */
	ret = gpio_pin_configure_dt(&pin_busy, GPIO_INPUT);
	if (ret < 0) {
		printk("ERROR: BUSY config failed: %d\n", ret);
		return ret;
	}

	printk("LR1110 HAL initialized (SPI @ %u Hz)\n", spi_cfg.frequency);
	return 0;
}

int lr1110_updater_hw_reset(void)
{
	printk("Resetting LR1110...\n");

	/* Assert reset (active-low: logical 1 = physical LOW = reset active) */
	gpio_pin_set_dt(&pin_reset, 1);
	k_msleep(10);

	/* Release reset */
	gpio_pin_set_dt(&pin_reset, 0);

	/* After reset, the LR1110 boots into bootloader if flash is empty,
	 * or into firmware if flash has valid content.
	 * Firmware boot takes up to 273ms (datasheet). */
	k_msleep(300);

	int ret = wait_on_busy(BUSY_TIMEOUT_MS);
	if (ret) {
		printk("ERROR: BUSY stuck after reset\n");
	} else {
		printk("LR1110 reset complete, BUSY=low\n");
	}
	return ret;
}

int lr1110_updater_reset_to_bootloader(void)
{
	printk("Resetting LR1110 into bootloader (BUSY held LOW)...\n");

	/* Semtech lr1110_updater_tool pattern: hold BUSY low as an output across
	 * the RESET pulse, which makes the LR1110 enter its bootloader; wait 500 ms,
	 * release BUSY, wait 100 ms and for BUSY low. */

	/* Drive BUSY to physical LOW (pin_busy has GPIO_ACTIVE_HIGH,
	 * so we use raw GPIO to be explicit about physical level) */
	gpio_pin_configure(pin_busy.port, pin_busy.pin,
			   GPIO_OUTPUT_LOW);

	/* Assert reset */
	gpio_pin_set_dt(&pin_reset, 1);
	k_msleep(10);

	/* Release reset — chip starts booting, sees BUSY held LOW → bootloader */
	gpio_pin_set_dt(&pin_reset, 0);
	k_msleep(500);

	/* Release BUSY back to input */
	gpio_pin_configure_dt(&pin_busy, GPIO_INPUT);
	k_msleep(100);

	int ret = wait_on_busy(BUSY_TIMEOUT_MS);
	if (ret) {
		printk("ERROR: BUSY stuck after bootloader reset\n");
	} else {
		printk("LR1110 in bootloader mode, BUSY=low\n");
	}
	return ret;
}

/* ── SD card presence probe ──
 * An inserted card on the radio's SPI bus silently corrupts LR1110 flashing,
 * and the M9 has no card-detect pin. SPI-mode detection at 400 kHz: 74+ dummy
 * clocks with CS high, then CMD0; a card answers R1, an empty slot reads 0xFF. */
#if defined(CONFIG_BOARD_THINKNODE_M9)
/* No DT node exists for the slot — the base board DTS only parks its CS with
 * a gpio-hog. GPIO48 = gpio1 pin 16. */
#define SDCARD_CS_PORT_NODE DT_NODELABEL(gpio1)
#define SDCARD_CS_PIN       16
#endif

int lr1110_updater_probe_sdcard(void)
{
#ifdef SDCARD_CS_PORT_NODE
	const struct device *cs_port = DEVICE_DT_GET(SDCARD_CS_PORT_NODE);
	struct spi_config slow_cfg = {
		.frequency = 400000,
		.operation = SPI_WORD_SET(8) | SPI_TRANSFER_MSB,
	};
	/* CMD0: GO_IDLE_STATE, arg 0, CRC7 0x95 (valid, and required while the
	 * card is still in its CRC-checked power-up state). */
	static const uint8_t cmd0[6] = { 0x40, 0x00, 0x00, 0x00, 0x00, 0x95 };
	uint8_t tx[8], rx[8];
	int ret, present = 0;

	if (!device_is_ready(cs_port)) {
		return -ENODEV;
	}
	if (gpio_pin_configure(cs_port, SDCARD_CS_PIN, GPIO_OUTPUT_HIGH) < 0) {
		return -EIO;
	}

	/* Wake-up clocks, CS HIGH (deselected) — 10 bytes = 80 cycles. */
	memset(tx, 0xFF, sizeof(tx));
	const struct spi_buf wake_buf = { .buf = tx, .len = sizeof(tx) };
	const struct spi_buf_set wake = { .buffers = &wake_buf, .count = 1 };

	ret = spi_write(spi_dev, &slow_cfg, &wake);
	if (ret == 0) {
		ret = spi_write(spi_dev, &slow_cfg, &wake); /* >=74 clocks total */
	}
	if (ret < 0) {
		goto out;
	}

	/* Select the card and issue CMD0. */
	gpio_pin_set(cs_port, SDCARD_CS_PIN, 0);

	const struct spi_buf cmd_buf = { .buf = (uint8_t *)cmd0, .len = sizeof(cmd0) };
	const struct spi_buf_set cmd = { .buffers = &cmd_buf, .count = 1 };

	ret = spi_write(spi_dev, &slow_cfg, &cmd);
	if (ret == 0) {
		/* Clock the response out with MOSI held high, as the spec
		 * requires — spi_read() would drive zeros instead. */
		memset(tx, 0xFF, sizeof(tx));
		const struct spi_buf rtx_buf = { .buf = tx, .len = sizeof(rx) };
		const struct spi_buf_set rtx = { .buffers = &rtx_buf, .count = 1 };
		const struct spi_buf rrx_buf = { .buf = rx, .len = sizeof(rx) };
		const struct spi_buf_set rrx = { .buffers = &rrx_buf, .count = 1 };

		ret = spi_transceive(spi_dev, &slow_cfg, &rtx, &rrx);
		if (ret == 0) {
			for (size_t i = 0; i < sizeof(rx); i++) {
				if ((rx[i] & 0x80) == 0) { /* valid R1 token */
					present = 1;
					break;
				}
			}
		}
	}

	/* Deselect, then one more byte so the card releases the bus. */
	gpio_pin_set(cs_port, SDCARD_CS_PIN, 1);
	memset(tx, 0xFF, sizeof(tx));
	const struct spi_buf rel_buf = { .buf = tx, .len = 1 };
	const struct spi_buf_set rel = { .buffers = &rel_buf, .count = 1 };

	spi_write(spi_dev, &slow_cfg, &rel);

out:
	/* Leave CS parked HIGH exactly as the gpio-hog had it. */
	gpio_pin_configure(cs_port, SDCARD_CS_PIN, GPIO_OUTPUT_HIGH);

	return (ret < 0) ? ret : present;
#else
	return -ENOTSUP;
#endif
}

/* ── Semtech HAL interface ────────────────────────────────── */

lr11xx_hal_status_t lr11xx_hal_write(const void *context, const uint8_t *command,
				     const uint16_t command_length,
				     const uint8_t *data, const uint16_t data_length)
{
	(void)context;
	int ret;

	/* Wait for device ready */
	if (wait_on_busy(BUSY_TIMEOUT_MS)) {
		return LR11XX_HAL_STATUS_ERROR;
	}

	/* Send the command and its payload as one contiguous buffer: as two
	 * spi_bufs the ESP32 SPI driver makes them separate hardware transactions. */
	static uint8_t txbuf[LR11XX_HAL_MAX_FRAME];

	if ((size_t)command_length + (size_t)data_length > sizeof(txbuf)) {
		printk("ERROR: SPI frame too large (%u + %u)\n",
		       command_length, data_length);
		return LR11XX_HAL_STATUS_ERROR;
	}

	memcpy(txbuf, command, command_length);
	if (data_length > 0) {
		memcpy(txbuf + command_length, data, data_length);
	}

	const struct spi_buf tx_buf = {
		.buf = txbuf,
		.len = (size_t)command_length + (size_t)data_length,
	};
	const struct spi_buf_set tx = { .buffers = &tx_buf, .count = 1 };

	gpio_pin_set_dt(&pin_nss, 1); /* Assert NSS (LOW) */
	ret = spi_write(spi_dev, &spi_cfg, &tx);
	gpio_pin_set_dt(&pin_nss, 0); /* Deassert NSS (HIGH) */

	last_spi_ret = ret;

	if (ret < 0) {
		printk("ERROR: SPI write failed: %d\n", ret);
		return LR11XX_HAL_STATUS_ERROR;
	}

	/* Flash erase (0x8000) holds BUSY for ~2.5s; the loader's bootloader
	 * rewrite (0x8100) also runs for seconds — give both the long timeout. */
	uint16_t opcode = 0;
	if (command_length >= 2) {
		opcode = ((uint16_t)command[0] << 8) | command[1];
	}
	uint32_t timeout = (opcode == 0x8000 || opcode == 0x8100)
		? LONG_BUSY_TIMEOUT_MS : BUSY_TIMEOUT_MS;

	/* Rising-edge aware: the command must be seen through to completion,
	 * not merely observed to be "not busy yet". */
	if (wait_command_complete(timeout)) {
		return LR11XX_HAL_STATUS_ERROR;
	}

	return LR11XX_HAL_STATUS_OK;
}

lr11xx_hal_status_t lr11xx_hal_read(const void *context, const uint8_t *command,
				    const uint16_t command_length,
				    uint8_t *data, const uint16_t data_length)
{
	(void)context;
	int ret;

	/* Wait for device ready */
	if (wait_on_busy(BUSY_TIMEOUT_MS)) {
		return LR11XX_HAL_STATUS_ERROR;
	}

	/* Step 1: Write command */
	const struct spi_buf tx_buf = { .buf = (uint8_t *)command, .len = command_length };
	const struct spi_buf_set tx = { .buffers = &tx_buf, .count = 1 };

	gpio_pin_set_dt(&pin_nss, 1);
	ret = spi_write(spi_dev, &spi_cfg, &tx);
	gpio_pin_set_dt(&pin_nss, 0);

	if (ret < 0) {
		printk("ERROR: SPI write (cmd) failed: %d\n", ret);
		return LR11XX_HAL_STATUS_ERROR;
	}

	if (data_length == 0) {
		return (wait_command_complete(BUSY_TIMEOUT_MS) == 0)
			? LR11XX_HAL_STATUS_OK : LR11XX_HAL_STATUS_ERROR;
	}

	/* Step 2: Wait for the command to complete, then read the response */
	if (wait_command_complete(BUSY_TIMEOUT_MS)) {
		return LR11XX_HAL_STATUS_ERROR;
	}

	/* LR11xx returns 1 dummy byte + data */
	uint8_t dummy;
	const struct spi_buf rx_bufs[] = {
		{ .buf = &dummy, .len = 1 },
		{ .buf = data, .len = data_length },
	};
	const struct spi_buf_set rx = { .buffers = rx_bufs, .count = 2 };

	gpio_pin_set_dt(&pin_nss, 1);
	ret = spi_read(spi_dev, &spi_cfg, &rx);
	gpio_pin_set_dt(&pin_nss, 0);

	if (ret < 0) {
		printk("ERROR: SPI read failed: %d\n", ret);
		return LR11XX_HAL_STATUS_ERROR;
	}

	return LR11XX_HAL_STATUS_OK;
}

lr11xx_hal_status_t lr11xx_hal_direct_read(const void *context, uint8_t *data,
					   const uint16_t data_length)
{
	(void)context;
	int ret;

	if (wait_on_busy(BUSY_TIMEOUT_MS)) {
		return LR11XX_HAL_STATUS_ERROR;
	}

	const struct spi_buf rx_buf = { .buf = data, .len = data_length };
	const struct spi_buf_set rx = { .buffers = &rx_buf, .count = 1 };

	gpio_pin_set_dt(&pin_nss, 1);
	ret = spi_read(spi_dev, &spi_cfg, &rx);
	gpio_pin_set_dt(&pin_nss, 0);

	if (ret < 0) {
		printk("ERROR: SPI direct read failed: %d\n", ret);
		return LR11XX_HAL_STATUS_ERROR;
	}

	return LR11XX_HAL_STATUS_OK;
}

lr11xx_hal_status_t lr11xx_hal_reset(const void *context)
{
	(void)context;
	return (lr1110_updater_hw_reset() == 0)
		? LR11XX_HAL_STATUS_OK : LR11XX_HAL_STATUS_ERROR;
}

lr11xx_hal_status_t lr11xx_hal_wakeup(const void *context)
{
	(void)context;
	return (wait_on_busy(BUSY_TIMEOUT_MS) == 0)
		? LR11XX_HAL_STATUS_OK : LR11XX_HAL_STATUS_ERROR;
}
```
